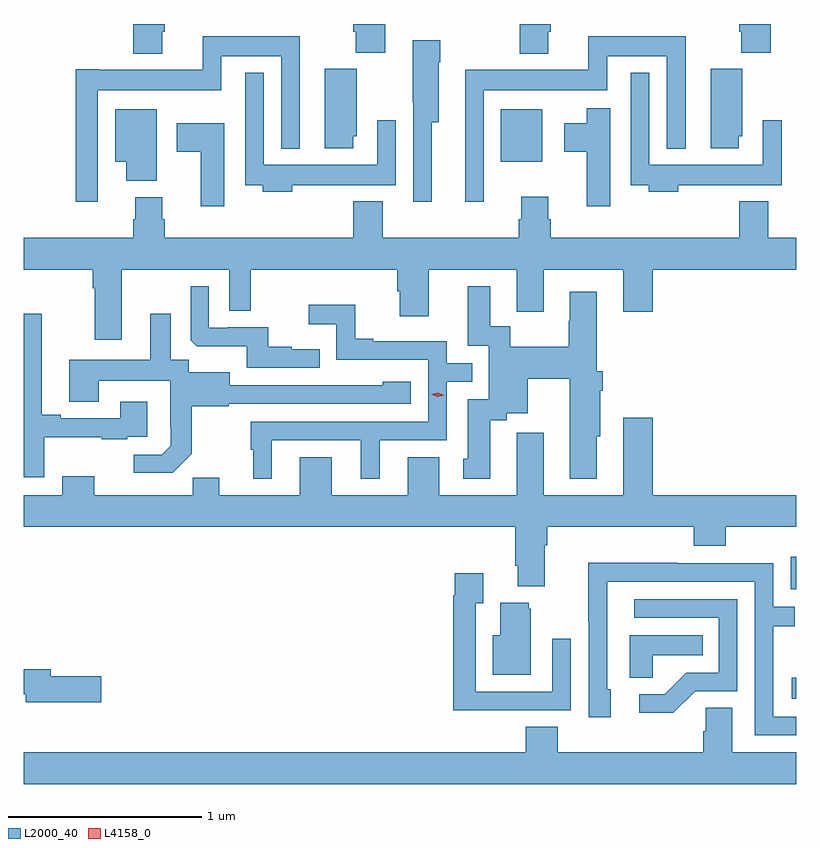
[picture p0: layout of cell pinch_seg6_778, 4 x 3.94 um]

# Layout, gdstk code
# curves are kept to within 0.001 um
import gdstk
lib = gdstk.Library(unit=1e-6, precision=1e-09)
def R(c, l, rs):  # rectangles x0, y0, x1, y1
    for r in rs: c.add(gdstk.rectangle(r[:2], r[2:], *l))
def P(c, l, *ps):  # polygons
    for p in ps: c.add(gdstk.Polygon(p, *l))
L2000_40 = (2000, 40)
L4158_0 = (4158, 0)

pinch_seg6_778 = lib.new_cell('pinch_seg6_778')
R(pinch_seg6_778, L2000_40, [(185.295,987.737,185.317,987.847), (185.289,988.305,185.317,988.474), (183.788,990.518,184.003,990.79)])
P(pinch_seg6_778, L2000_40, [(182.035,991.191),(182.048,991.191),(182.048,991.232),(181.883,991.232),(181.883,991.079),(182.035,991.079)],
  [(183.188,991.232),(183.023,991.232),(183.023,991.193),(183.035,991.193),(183.035,991.084),(183.188,991.084)],
  [(184.033,991.191),(184.046,991.191),(184.046,991.232),(183.886,991.232),(183.886,991.079),(184.033,991.079)],
  [(185.186,991.232),(185.021,991.232),(185.021,991.193),(185.033,991.193),(185.033,991.084),(185.186,991.084)],
  [(181.701,990.89),(182.34,990.89),(182.34,991.064),(182.649,991.064),(182.649,990.587),(182.746,990.587),(182.746,991.168),(182.243,991.168),(182.243,990.994),(181.708,990.994),(181.708,990.997),(181.585,990.997),(181.585,990.312),(181.701,990.312)],
  [(183.699,990.89),(184.338,990.89),(184.338,991.064),(184.647,991.064),(184.647,990.587),(184.744,990.587),(184.744,991.168),(184.241,991.168),(184.241,990.994),(183.602,990.994),(183.602,990.312),(183.699,990.312)],
  [(183.43,990.722),(183.466,990.722),(183.466,991.034),(183.474,991.034),(183.474,991.147),(183.332,991.147),(183.332,990.826),(183.333,990.826),(183.333,990.312),(183.43,990.312)],
  [(183.022,990.651),(183.04,990.651),(183.04,990.999),(182.876,990.999),(182.876,990.588),(183.022,990.588)],
  [(185.02,990.651),(185.038,990.651),(185.038,990.999),(184.874,990.999),(184.874,990.588),(185.02,990.588)],
  [(184.706,990.396),(184.937,990.396),(184.937,990.398),(185.241,990.398),(185.241,990.733),(185.145,990.733),(185.145,990.502),(184.557,990.502),(184.557,990.979),(184.461,990.979),(184.461,990.396),(184.553,990.396),(184.553,990.362),(184.706,990.362)],
  [(182.708,990.396),(182.939,990.396),(182.939,990.398),(183.243,990.398),(183.243,990.733),(183.147,990.733),(183.147,990.502),(182.559,990.502),(182.559,990.979),(182.463,990.979),(182.463,990.396),(182.555,990.396),(182.555,990.362),(182.708,990.362)],
  [(184.354,990.796),(184.232,990.796),(184.232,990.718),(184.115,990.718),(184.115,990.571),(184.232,990.571),(184.232,990.288),(184.354,990.288)],
  [(182.005,990.79),(181.79,990.79),(181.79,990.518),(181.847,990.518),(181.847,990.419),(182.005,990.419)],
  [(182.356,990.718),(182.109,990.718),(182.109,990.571),(182.234,990.571),(182.234,990.288),(182.356,990.288)],
  [(183.175,990.313),(183.023,990.313),(183.023,990.124),(182.048,990.124),(182.048,990.222),(182.035,990.222),(182.035,990.334),(181.895,990.334),(181.895,990.222),(181.883,990.222),(181.883,990.124),(181.317,990.124),(181.317,989.96),(181.673,989.96),(181.673,989.864),(181.685,989.864),(181.685,989.598),(181.825,989.598),(181.825,989.96),(182.382,989.96),(182.382,989.746),(182.491,989.746),(182.491,989.96),(183.251,989.96),(183.251,989.847),(183.263,989.847),(183.263,989.718),(183.415,989.718),(183.415,989.96),(183.869,989.96),(183.869,989.742),(184.009,989.742),(184.009,989.96),(184.421,989.96),(184.421,989.742),(184.574,989.742),(184.574,989.96),(185.317,989.96),(185.317,990.124),(185.173,990.124),(185.173,990.313),(185.021,990.313),(185.021,990.124),(184.046,990.124),(184.046,990.222),(184.033,990.222),(184.033,990.337),(183.893,990.337),(183.893,990.222),(183.881,990.222),(183.881,990.124),(183.175,990.124)],
  [(182.849,989.548),(182.705,989.548),(182.705,989.56),(182.582,989.56),(182.582,989.661),(182.374,989.661),(182.374,989.658),(182.274,989.658),(182.274,989.875),(182.181,989.875),(182.181,989.595),(182.213,989.564),(182.472,989.564),(182.472,989.451),(182.849,989.451)],
  [(184.285,989.097),(184.303,989.097),(184.303,989.333),(184.316,989.333),(184.316,989.433),(184.285,989.433),(184.285,989.845),(184.145,989.845),(184.145,989.694),(184.138,989.694),(184.138,989.56),(183.835,989.56),(183.835,989.666),(183.733,989.666),(183.733,989.875),(183.617,989.875),(183.617,989.565),(183.726,989.565),(183.726,989.289),(183.617,989.289),(183.617,988.98),(183.593,988.98),(183.593,988.878),(183.733,988.878),(183.733,989.181),(183.819,989.181),(183.819,989.216),(183.928,989.216),(183.928,989.396),(184.145,989.396),(184.145,988.877),(184.285,988.877)],
  [(182.602,989.076),(183.062,989.076),(183.062,988.877),(183.16,988.877),(183.16,989.076),(183.507,989.076),(183.507,989.379),(183.64,989.379),(183.64,989.475),(183.507,989.475),(183.507,989.589),(183.127,989.589),(183.127,989.602),(183.033,989.602),(183.033,989.777),(182.793,989.777),(182.793,989.678),(182.934,989.678),(182.934,989.493),(183.411,989.493),(183.411,989.172),(182.493,989.172),(182.493,989.028),(182.504,989.028),(182.504,988.877),(182.602,988.877)],
  [(182.187,989.007),(182.187,989.253),(182.379,989.253),(182.379,989.265),(183.322,989.265),(183.322,989.38),(183.177,989.38),(183.177,989.362),(182.383,989.361),(182.383,989.428),(182.172,989.428),(182.172,989.492),(182.077,989.492),(182.077,989.731),(181.973,989.731),(181.973,989.494),(181.553,989.494),(181.553,989.275),(181.705,989.275),(181.705,989.384),(182.076,989.384),(182.076,989.143),(182.078,989.143),(182.078,989.048),(182.031,989.001),(181.887,989.001),(181.887,988.907),(182.087,988.907)],
  [(181.423,989.093),(181.721,989.093),(181.721,989.082),(181.853,989.082),(181.853,989.094),(181.957,989.094),(181.957,989.275),(181.817,989.275),(181.817,989.19),(181.507,989.19),(181.507,989.209),(181.411,989.209),(181.411,989.731),(181.317,989.731),(181.317,988.884),(181.423,988.884)],
  [(184.009,989.116),(183.869,989.116),(183.869,988.792),(183.469,988.792),(183.469,988.987),(183.305,988.987),(183.305,988.792),(182.911,988.792),(182.911,988.987),(182.747,988.987),(182.747,988.792),(182.329,988.792),(182.329,988.883),(182.191,988.883),(182.191,988.792),(181.681,988.792),(181.681,988.891),(181.517,988.891),(181.517,988.792),(181.317,988.792),(181.317,988.628),(183.863,988.628),(183.863,988.426),(183.875,988.426),(183.875,988.319),(184.015,988.319),(184.015,988.532),(184.028,988.532),(184.028,988.628),(184.787,988.628),(184.787,988.529),(184.952,988.529),(184.952,988.628),(185.317,988.628),(185.317,988.792),(184.574,988.792),(184.574,989.194),(184.421,989.194),(184.421,988.792),(184.009,988.792)],
  [(185.317,987.645),(185.199,987.645),(185.199,988.114),(185.309,988.114),(185.309,988.215),(185.199,988.215),(185.199,988.44),(184.703,988.44),(184.703,988.442),(184.24,988.442),(184.24,988.135),(184.242,988.135),(184.242,987.642),(184.357,987.642),(184.357,987.786),(184.338,987.786),(184.338,988.344),(185.103,988.344),(185.103,987.549),(185.317,987.549)],
  [(183.833,987.678),(184.149,987.678),(184.149,988.048),(184.053,988.048),(184.053,987.774),(183.657,987.774),(183.657,988.231),(183.697,988.231),(183.697,988.387),(183.549,988.387),(183.549,988.274),(183.541,988.274),(183.541,987.677),(183.833,987.677)],
  [(184.794,987.777),(185.013,987.777),(185.013,988.254),(184.479,988.254),(184.479,988.158),(184.917,988.158),(184.917,987.873),(184.748,987.873),(184.637,987.762),(184.503,987.762),(184.503,987.665),(184.681,987.665)],
  [(183.943,988.203),(183.932,988.203),(183.932,988.234),(183.785,988.234),(183.785,988.066),(183.746,988.066),(183.746,987.863),(183.943,987.863)],
  [(184.575,987.962),(184.832,987.962),(184.832,988.066),(184.454,988.066),(184.454,987.847),(184.575,987.847)],
  [(181.717,987.854),(181.456,987.854),(181.456,987.89),(181.317,987.89),(181.317,987.762),(181.328,987.762),(181.328,987.719),(181.717,987.719)],
  [(185.317,987.46),(184.987,987.46),(184.987,987.692),(184.848,987.692),(184.848,987.569),(184.835,987.569),(184.835,987.46),(184.082,987.46),(184.082,987.593),(183.917,987.593),(183.917,987.46),(181.317,987.46),(181.317,987.296),(185.317,987.296)])
P(pinch_seg6_778, L4158_0, [(183.46,989.302),(183.427,989.315),(183.427,989.315),(183.427,989.315),(183.462,989.322),(183.495,989.31),(183.496,989.31),(183.495,989.31)])

lib.write_gds('pinch_seg6_778.gds')
